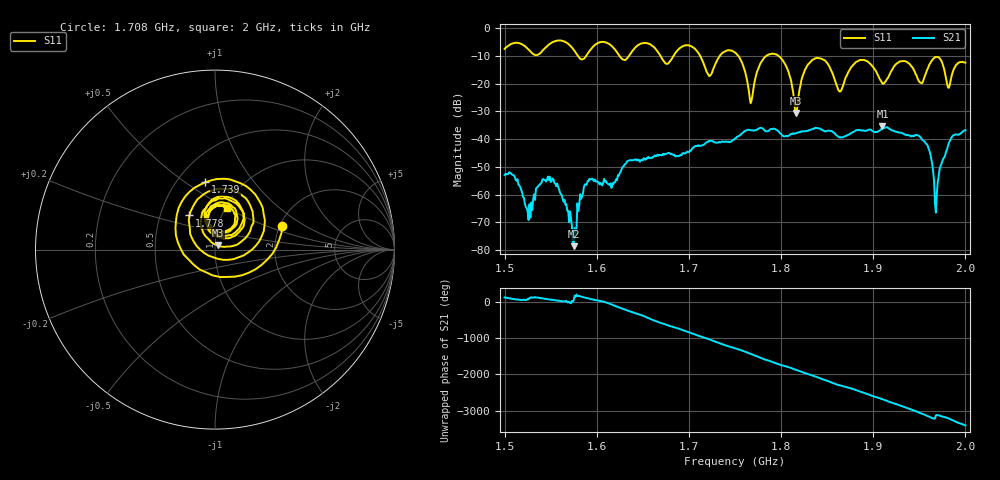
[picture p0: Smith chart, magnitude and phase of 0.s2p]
! NanoVNA-App by SYSJOINT et al v1.1.209 (+OD18)
! Date: 2026-01-21 14:20:12
! Start: 1,5GHz Stop: 2GHz Points: 501
! S-Parameter data: F S11 S21 S12 S22
# Hz S RI R 50
!  Frequency  S11_Real  S11_Imag  S21_Real  S21_Imag  S12_Real  S12_Imag  S22_Real  S22_Imag
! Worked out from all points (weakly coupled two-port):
!   501 points, 1.5 GHz to 2 GHz, reference 50 ohm
!   highest |S21| = -35.30 dB at 1.91 GHz (marker M1); lowest = -78.6 dB at 1.575 GHz (marker M2)
!   lowest |S11| = -30.6 dB at 1.816 GHz (marker M3), VSWR 1.06, Z = 51.4 + j2.65 ohm
!   |S11| at or under -10 dB: 1.712 GHz to 1.733 GHz (21.29 MHz wide, 1.24 % of centre); 1.753 GHz to 1.784 GHz (30.52 MHz wide, 1.73 % of centre); 1.797 GHz to end of sweep (the widest 3 of 6)
!   S12 and S22 are empty: the file has one direction only
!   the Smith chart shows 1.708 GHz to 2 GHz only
!   S11 on the Smith chart (normalised r, x): 1.708 GHz: 2.06, +0.65; 1.739 GHz: 0.68, +0.60; 1.778 GHz: 0.70, +0.28; 2 GHz: 1.03, +0.50
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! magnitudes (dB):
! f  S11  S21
! 1.5 GHz  -7.5  -53.0
! 1.526 GHz  -7.7  -69.1
! 1.553 GHz  -5.0  -54.6
! 1.575 GHz  -7.8  -78.6
! 1.584 GHz  -11.3  -60.7
! 1.667 GHz  -8.9  -46.0
! 1.708 GHz  -8.0  -42.5
! 1.722 GHz  -17.3  -40.6
! 1.739 GHz  -8.4  -40.9
! 1.75 GHz  -8.8  -39.8
! 1.767 GHz  -27.1  -36.8
! 1.778 GHz  -12.5  -35.9
! 1.801 GHz  -11.3  -38.6
! 1.816 GHz  -30.6  -38.0
! 1.834 GHz  -11.5  -36.4
! 1.863 GHz  -22.8  -39.3
! 1.91 GHz  -20.0  -35.3
! 1.917 GHz  -17.3  -36.2
! 1.957 GHz  -16.4  -41.5
! 1.968 GHz  -10.4  -66.5
! 1.982 GHz  -21.5  -41.5
! 2 GHz  -12.4  -36.8
